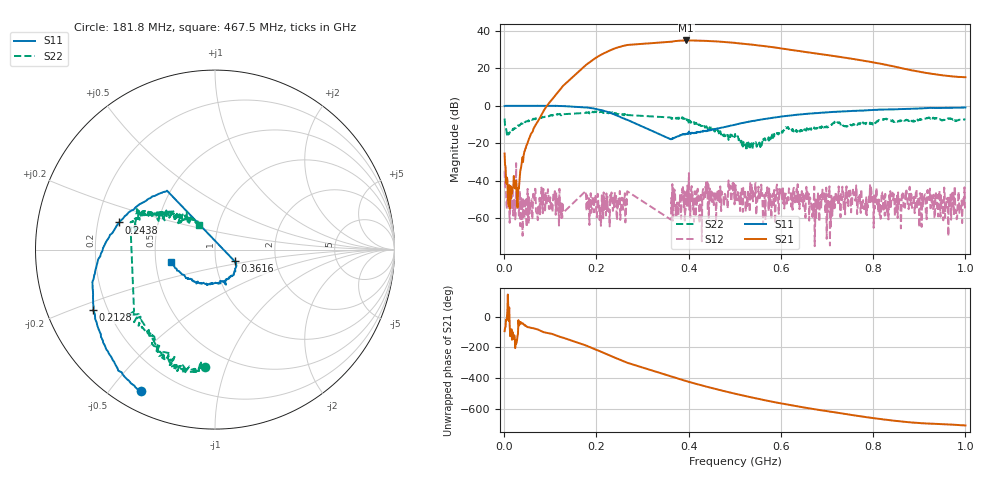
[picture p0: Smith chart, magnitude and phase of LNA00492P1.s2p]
! Created with skrf 1.9.0 (http://scikit-rf.org).
# Hz S RI R 50.0
!freq ReS11 ImS11 ReS21 ImS21 ReS12 ImS12 ReS22 ImS22
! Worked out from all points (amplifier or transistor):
!   860 points, 1 MHz to 1 GHz, reference 50 ohm
!   highest |S21| = 35.0 dB at 394.6 MHz (marker M1)
!   |S21| within 3 dB of that: 256.8 MHz to 563 MHz (306.3 MHz wide, 74.7 % of centre)
!   unconditionally stable (mu >= 1): 198.2 MHz to 232.7 MHz; 232.9 MHz to 400.2 MHz; 400.8 MHz to end of sweep (the widest 3 of 33)
!   at 190.8 MHz: K = 2.15, MAG = 33.5 dB, |S12| = -54.9 dB
!   at 571.4 MHz: K = 2.02, MAG = 32.7 dB, |S12| = -45.3 dB
!   at 1 GHz: K = 5.08, MAG = 23.7 dB, |S12| = -52.1 dB
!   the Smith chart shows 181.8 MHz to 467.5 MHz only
!   S11 on the Smith chart (normalised r, x): 181.8 MHz: 0.08, -0.60; 212.8 MHz: 0.15, -0.23; 243.8 MHz: 0.29, +0.13; 361.6 MHz: 1.23, -0.16; 467.5 MHz: 0.60, -0.09
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1000000  0.9842 -0.00188  -0.00437 -0.0529  -0.00105 -0.0183  0.3299 0.3167
1.04896e8  0.5632 -0.8291  -0.6196 -1.4  -0.00147 -5.86e-05  0.434 -0.3271
1.24876e8  0.3503 -0.9231  -2.21 -2.2  0.000758 -0.00232  0.3492 -0.4859
1.28872e8  0.2982 -0.9374  -2.629 -2.343  0.000302 -0.00139  0.3125 -0.5094
1.76824e8  -0.3536 -0.8359  -12.15 1.547  0.00304 -0.00431  -0.0377 -0.6446
1.81819e8  -0.4146 -0.7891  -13.14 3.188  0.00172 -0.00208  -0.058 -0.6529
2.12788e8  -0.6787 -0.3378  -14.94 18.95  -0.00163 0.000235  -0.2431 -0.6361
2.43757e8  -0.5338 0.1515  1.194 35.55  0.00107 -0.00061  -0.3322 -0.5265
2.62738e8  -0.3105 0.3119  17.6 37.17  -0.000743 0.000163  -0.4254 -0.3593
2.66734e8  -0.2672 0.3282  21.33 36.66  -0.00405 0.00324  -0.451 -0.3434
3.61639e8  0.1092 -0.0647  44.76 -25.34  4.93e-05 -0.0009  -0.4705 0.1243
3.65635e8  0.1119 -0.0701  44.26 -28.51  0.000268 0.000803  -0.4442 0.1431
3.94606e8  0.077 -0.1625  28.67 -48.1  -0.00129 0.00474  -0.405 0.2134
4.27573e8  -0.0837 -0.1859  3.114 -54.93  0.00395 0.00256  -0.2272 0.1802
4.67533e8  -0.2452 -0.0685  -24.26 -46.02  0.00161 -0.0021  -0.091 0.1362
5.005e8  -0.2929 0.102  -38.11 -30.1  -0.0041 -0.000183  -0.1163 0.1337
5.4046e8  -0.2364 0.3196  -41.85 -8.517  0.0054 0.00117  -0.1006 0.00489
5.84416e8  -0.0656 0.4793  -35.41 9.924  0.00195 2.48e-05  -0.1352 -0.0612
6.67333e8  0.3226 0.5345  -12.92 22.43  0.00153 0.000524  -0.2545 -0.0146
7.54246e8  0.628 0.3734  3.227 17.83  0.000514 -0.00198  -0.2943 0.0445
8.34166e8  0.7829 0.155  8.256 8.737  0.000141 0.00245  -0.4067 0.119
1e9  0.8222 -0.3776  5.713 1.172  0.00246 -0.000291  -0.1383 0.4028
